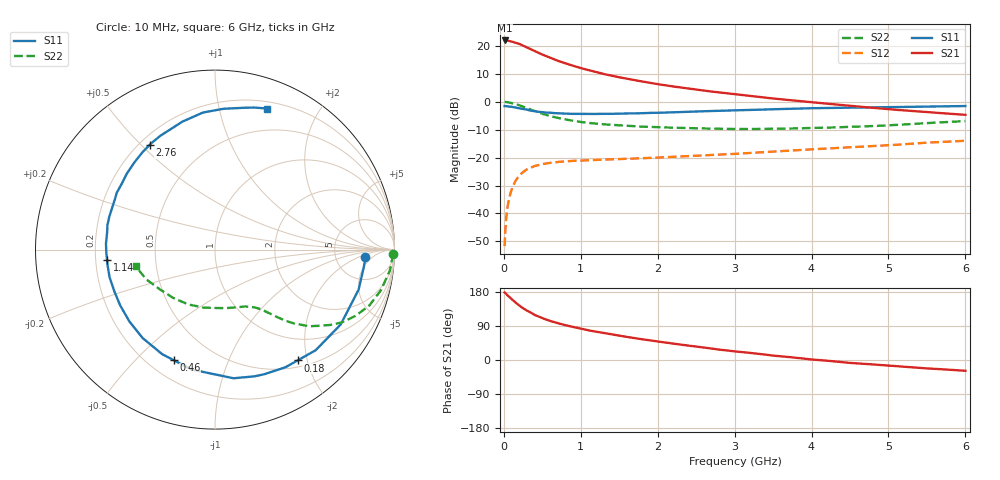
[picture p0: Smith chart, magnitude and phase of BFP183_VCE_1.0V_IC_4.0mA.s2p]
! Infineon Technologies  Discrete & RF Semiconductors
! BFP183
! VCE = 1.0 V,  IC =  4.0 mA
! Common Emitter S-Parameters:  Jan 2016
# GHz  S  MA  R  50
!  f  S11  S21  S12  S22
! GHz  MAG  ANG  MAG  ANG  MAG  ANG  MAG  ANG
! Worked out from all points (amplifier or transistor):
!   210 points, 10 MHz to 6 GHz, reference 50 ohm
!   highest |S21| = 21.9 dB at 10 MHz (marker M1)
!   |S21| within 3 dB of that: start of sweep to 339.6 MHz
!   unconditionally stable (mu >= 1): 1.614 GHz to end of sweep
!   at 185 MHz: K = 0.15, MSG = 23.9 dB, |S12| = -27.0 dB
!   at 1.52 GHz: K = 0.96, MSG = 14.6 dB, |S12| = -20.5 dB
!   at 6 GHz: K = 1.02, MAG = 3.7 dB, |S12| = -14.0 dB
!   S11 on the Smith chart (normalised r, x): 10 MHz: 10, -3; 180 MHz: 0.61, -1.84; 460 MHz: 0.30, -0.65; 1.14 GHz: 0.25, -0.05; 2.76 GHz: 0.24, +0.53; 6 GHz: 0.27, +1.41
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0.01  0.8388 -3.0  12.51 178.3  0.0026 88.9  0.9939 -1.4
0.04  0.8298 -12.5  12.4 172.4  0.0108 84.0  0.9832 -5.6
0.1  0.8151 -30.8  11.98 160.8  0.0265 73.0  0.9515 -13.8
0.18  0.77 -53.3  11.06 147.0  0.0437 62.5  0.8855 -22.9
0.2  0.764 -59.1  10.87 143.6  0.0478 60.4  0.8673 -25.1
0.24  0.7467 -68.4  10.23 137.9  0.0536 55.6  0.8262 -28.8
0.3  0.7243 -81.8  9.406 130.4  0.0616 49.7  0.7669 -33.2
0.4  0.6806 -101.1  8.119 118.9  0.0707 42.3  0.6808 -38.9
0.46  0.6578 -110.4  7.422 114.0  0.0742 38.7  0.6369 -41.1
0.5  0.6526 -116.8  6.993 110.2  0.0766 36.5  0.6083 -42.8
0.6  0.6368 -129.3  6.158 103.2  0.0806 32.8  0.5545 -45.5
0.7  0.6227 -140.0  5.406 97.2  0.0837 30.0  0.5138 -47.2
0.8  0.613 -149.5  4.87 91.6  0.0859 27.6  0.4824 -48.7
1.02  0.6062 -166.6  3.936 81.6  0.0887 24.7  0.4309 -51.6
1.14  0.6045 -174.4  3.563 76.8  0.0903 23.7  0.4131 -53.0
1.5  0.6147 167.2  2.743 64.0  0.094 22.2  0.3778 -57.6
2.02  0.6354 145.3  2.046 48.3  0.1005 22.8  0.3498 -65.9
2.76  0.6877 122.0  1.489 28.5  0.1123 23.8  0.329 -81.9
3.1  0.7078 113.2  1.316 20.9  0.119 23.8  0.325 -90.6
4.1  0.7691 93.3  0.951 -0.2  0.1431 22.3  0.3413 -119.1
5.1  0.8041 79.2  0.718 -16.1  0.1696 19.5  0.3847 -146.8
6  0.8384 69.6  0.583 -28.5  0.2003 13.0  0.4518 -168.0
